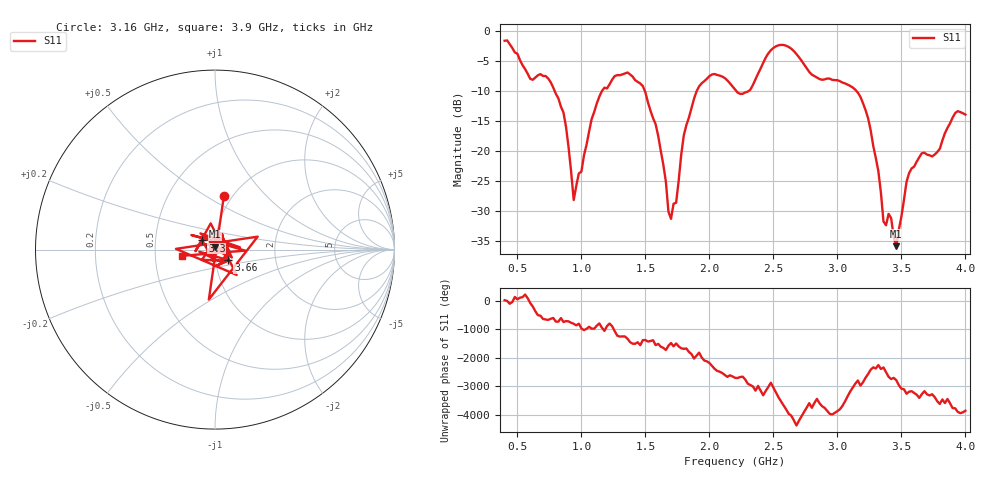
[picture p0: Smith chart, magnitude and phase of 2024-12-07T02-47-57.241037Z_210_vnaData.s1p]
!Created with skrf (http://scikit-rf.org).
# Hz S RI R 50.0
!freq ReS11 ImS11
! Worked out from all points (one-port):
!   181 points, 400 MHz to 4 GHz, reference 50 ohm
!   lowest |S11| = -35.9 dB at 3.46 GHz (marker M1), VSWR 1.03, Z = 49.9 + j1.59 ohm
!   |S11| at or under -10 dB: 790 MHz to 1.163 GHz (372.6 MHz wide, 38.2 % of centre); 1.495 GHz to 1.902 GHz (407.8 MHz wide, 24 % of centre); 3.146 GHz to end of sweep (the widest 3 of 4)
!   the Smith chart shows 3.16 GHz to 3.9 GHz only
!   S11 on the Smith chart (normalised r, x): 3.16 GHz: 0.91, +0.60; 3.3 GHz: 0.86, +0.09; 3.66 GHz: 1.15, -0.14; 3.9 GHz: 0.69, -0.05
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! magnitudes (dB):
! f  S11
! 400 MHz  -1.7
! 600 MHz  -8.0
! 740 MHz  -8.0
! 860 MHz  -13.7
! 940 MHz  -28.2
! 1.12 GHz  -12.1
! 1.3 GHz  -7.4
! 1.5 GHz  -10.3
! 1.6 GHz  -17.5
! 1.7 GHz  -31.4
! 1.76 GHz  -25.0
! 1.8 GHz  -17.5
! 1.92 GHz  -9.3
! 2.2 GHz  -9.8
! 2.32 GHz  -9.8
! 2.5 GHz  -2.9
! 2.66 GHz  -3.4
! 3.1 GHz  -9.2
! 3.16 GHz  -10.3
! 3.3 GHz  -21.2
! 3.36 GHz  -31.8
! 3.42 GHz  -31.3
! 3.46 GHz  -35.9
! 3.56 GHz  -23.7
! 3.66 GHz  -20.4
! 3.78 GHz  -20.2
! 3.9 GHz  -14.5
! 4 GHz  -14.0
